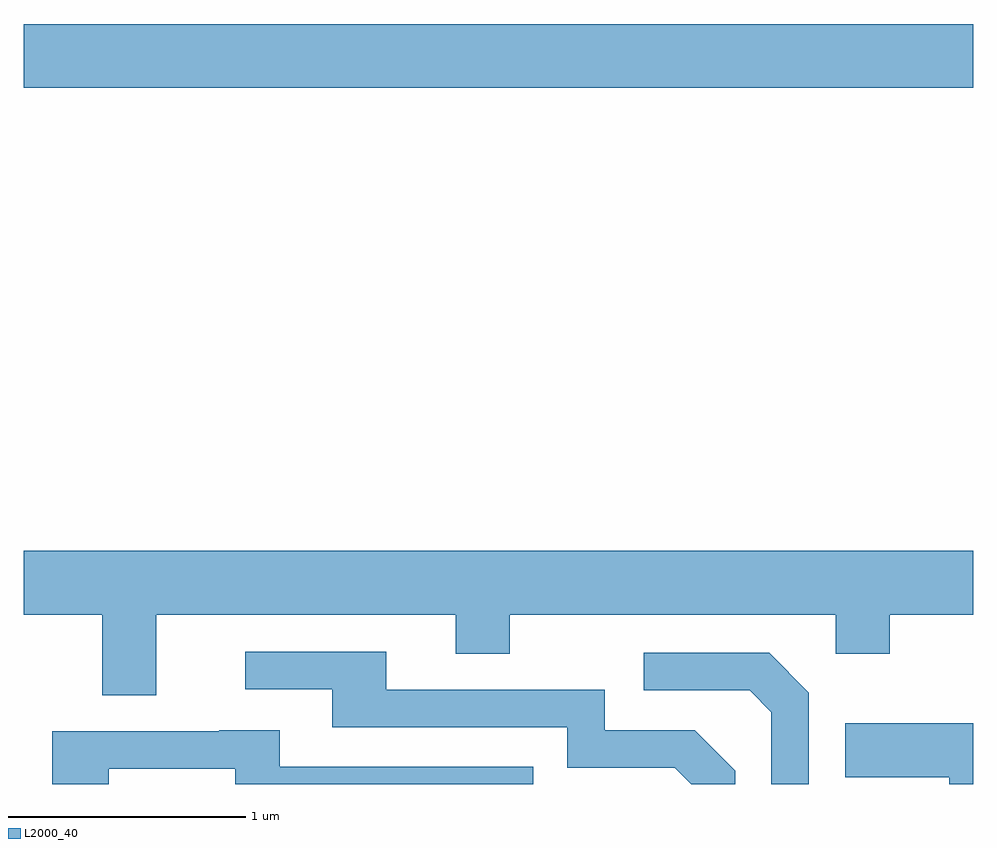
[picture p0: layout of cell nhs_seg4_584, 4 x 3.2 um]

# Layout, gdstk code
import gdstk
lib = gdstk.Library(unit=1e-6, precision=1e-09)
def R(c, l, rs):  # rectangles x0, y0, x1, y1
    for r in rs: c.add(gdstk.rectangle(r[:2], r[2:], *l))
def P(c, l, *ps):  # polygons
    for p in ps: c.add(gdstk.Polygon(p, *l))
L2000_40 = (2000, 40)

nhs_seg4_584 = lib.new_cell('nhs_seg4_584')
R(nhs_seg4_584, L2000_40, [(201.611,1336.916,205.611,1337.184)])
P(nhs_seg4_584, L2000_40, [(202.169,1334.696),(203.431,1334.696),(203.431,1334.531),(203.659,1334.531),(203.659,1334.696),(205.031,1334.696),(205.031,1334.531),(205.259,1334.531),(205.259,1334.696),(205.611,1334.696),(205.611,1334.964),(201.611,1334.964),(201.611,1334.696),(201.941,1334.696),(201.941,1334.356),(202.169,1334.356)],
  [(204.609,1334.037),(204.437,1334.209),(204.059,1334.209),(204.059,1334.379),(203.139,1334.379),(203.139,1334.539),(202.543,1334.539),(202.543,1334.381),(202.911,1334.381),(202.911,1334.221),(203.901,1334.221),(203.901,1334.051),(204.354,1334.051),(204.423,1333.982),(204.609,1333.982)],
  [(204.919,1334.367),(204.752,1334.534),(204.223,1334.534),(204.223,1334.376),(204.669,1334.376),(204.761,1334.284),(204.761,1333.982),(204.919,1333.982)],
  [(205.611,1334.239),(205.071,1334.239),(205.071,1334.011),(205.511,1334.011),(205.511,1333.982),(205.611,1333.982)],
  [(201.969,1334.046),(202.501,1334.046),(202.501,1333.982),(203.758,1333.982),(203.758,1334.054),(202.689,1334.054),(202.689,1334.209),(202.435,1334.209),(202.435,1334.204),(201.731,1334.204),(201.731,1333.982),(201.969,1333.982)])

lib.write_gds('nhs_seg4_584.gds')
